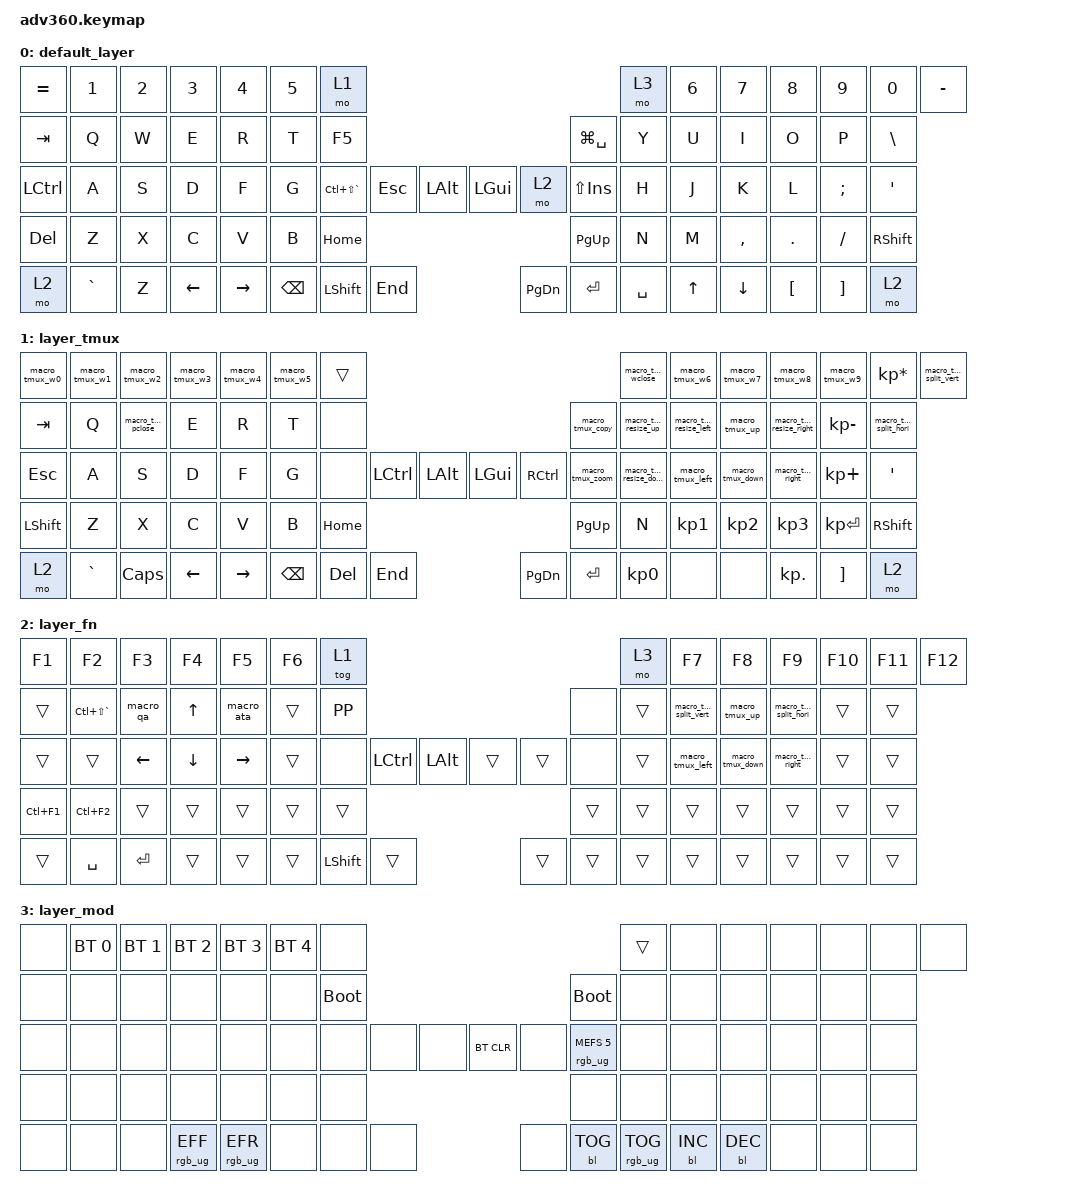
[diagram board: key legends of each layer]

/*
 * Copyright (c) 2020 The ZMK Contributors
 *
 * SPDX-License-Identifier: MIT
 */


/* THIS FILE WAS GENERATED!
 *
 * This file was generated automatically. You may or may not want to
 * edit it directly.
 */

#include <behaviors.dtsi>
#include <dt-bindings/zmk/keys.h>
#include <dt-bindings/zmk/bt.h>
#include <dt-bindings/zmk/rgb.h>
#include <dt-bindings/zmk/backlight.h>

/ {
  behaviors {
    #include "macros.dtsi"
    #include "version.dtsi"

    hm: homerow_mods {
        compatible = "zmk,behavior-hold-tap";
        label = "HOMEROW_MODS";
        #binding-cells = <2>;
        tapping-term-ms = <200>;
        quick_tap_ms = <175>;
        flavor = "tap-preferred";
        bindings = <&kp>, <&kp>;
    };
  };

    keymap {
        compatible = "zmk,keymap";


        default_layer {
            bindings = <
        &kp EQUAL     &kp N1  &kp N2    &kp N3     &kp N4  &kp N5                        &mo 1                                                                     &mo 3  &kp N6  &kp N7     &kp N8    &kp N9    &kp N0  &kp MINUS
          &kp TAB      &kp Q   &kp W     &kp E      &kp R   &kp T                       &kp F5                                                             &kp LG(SPACE)   &kp Y   &kp U      &kp I     &kp O     &kp P   &kp BSLH
 &kp LEFT_CONTROL      &kp A   &kp S     &kp D      &kp F   &kp G            &kp LC(LS(GRAVE))    &kp ESC  &kp LALT                   &kp LGUI      &mo 2    &kp LS(INS)   &kp H   &kp J      &kp K     &kp L  &kp SEMI    &kp SQT
          &kp DEL      &kp Z   &kp X     &kp C      &kp V   &kp B                                          &kp HOME                  &kp PG_UP                             &kp N   &kp M  &kp COMMA   &kp DOT  &kp FSLH  &kp RSHFT
            &mo 2  &kp GRAVE   &kp Z  &kp LEFT  &kp RIGHT                             &kp BSPC  &kp LSHFT   &kp END                  &kp PG_DN  &kp ENTER      &kp SPACE          &kp UP   &kp DOWN  &kp LBKT  &kp RBKT      &mo 2
            >;
        };

        layer_tmux {
            bindings = <
 &macro_tmux_w0  &macro_tmux_w1      &macro_tmux_w2  &macro_tmux_w3  &macro_tmux_w4  &macro_tmux_w5              &trans                                                             &macro_tmux_wclose           &macro_tmux_w6           &macro_tmux_w7    &macro_tmux_w8            &macro_tmux_w9  &kp KP_MULTIPLY  &macro_tmux_split_vert
        &kp TAB           &kp Q  &macro_tmux_pclose           &kp E           &kp R           &kp T               &none                                                               &macro_tmux_copy    &macro_tmux_resize_up  &macro_tmux_resize_left    &macro_tmux_up  &macro_tmux_resize_right     &kp KP_MINUS  &macro_tmux_split_hori
        &kp ESC           &kp A               &kp S           &kp D           &kp F           &kp G               &none  &kp LCTRL  &kp LALT                   &kp LGUI  &kp RCTRL    &macro_tmux_zoom  &macro_tmux_resize_down         &macro_tmux_left  &macro_tmux_down         &macro_tmux_right      &kp KP_PLUS                 &kp SQT
      &kp LSHFT           &kp Z               &kp X           &kp C           &kp V           &kp B                                 &kp HOME                  &kp PG_UP                                                   &kp N                &kp KP_N1         &kp KP_N2                 &kp KP_N3     &kp KP_ENTER               &kp RSHFT
          &mo 2       &kp GRAVE            &kp CAPS        &kp LEFT       &kp RIGHT                            &kp BSPC    &kp DEL   &kp END                  &kp PG_DN  &kp ENTER           &kp KP_N0                                             &none             &none                &kp KP_DOT         &kp RBKT                   &mo 2
            >;
        };

        layer_fn {
            bindings = <
     &kp F1             &kp F2     &kp F3    &kp F4      &kp F5  &kp F6              &tog 1                                                             &mo 3  &kp F7                  &kp F8            &kp F9                 &kp F10  &kp F11  &kp F12
     &trans  &kp LC(LS(GRAVE))  &macro_qa    &kp UP  &macro_ata  &trans            &kp K_PP                                                             &none  &trans  &macro_tmux_split_vert    &macro_tmux_up  &macro_tmux_split_hori   &trans   &trans
     &trans             &trans   &kp LEFT  &kp DOWN   &kp RIGHT  &trans               &none       &kp LCTRL  &kp LALT                  &trans  &trans   &none  &trans        &macro_tmux_left  &macro_tmux_down       &macro_tmux_right   &trans   &trans
 &kp LC(F1)         &kp LC(F2)     &trans    &trans      &trans  &trans                                        &trans                  &trans                  &trans                  &trans            &trans                  &trans   &trans   &trans
     &trans          &kp SPACE  &kp ENTER    &trans      &trans                      &trans  &kp LEFT_SHIFT    &trans                  &trans  &trans  &trans                          &trans            &trans                  &trans   &trans   &trans
            >;
        };

        layer_mod {
            bindings = <
  &none  &bt BT_SEL 0  &bt BT_SEL 1     &bt BT_SEL 2     &bt BT_SEL 3  &bt BT_SEL 4                  &none                                                                          &trans   &none       &none       &none   &none   &none   &none
  &none         &none         &none            &none            &none         &none            &bootloader                                                                     &bootloader   &none       &none       &none   &none   &none   &none
  &none         &none         &none            &none            &none         &none                  &none   &none   &none                  &bt BT_CLR       &none  &rgb_ug RGB_MEFS_CMD 5   &none       &none       &none   &none   &none   &none
  &none         &none         &none            &none            &none         &none                                  &none                       &none                                       &none       &none       &none   &none   &none   &none
  &none         &none         &none  &rgb_ug RGB_EFF  &rgb_ug RGB_EFR                                &none   &none   &none                       &none  &bl BL_TOG         &rgb_ug RGB_TOG          &bl BL_INC  &bl BL_DEC   &none   &none   &none
            >;
        };

    };
};
